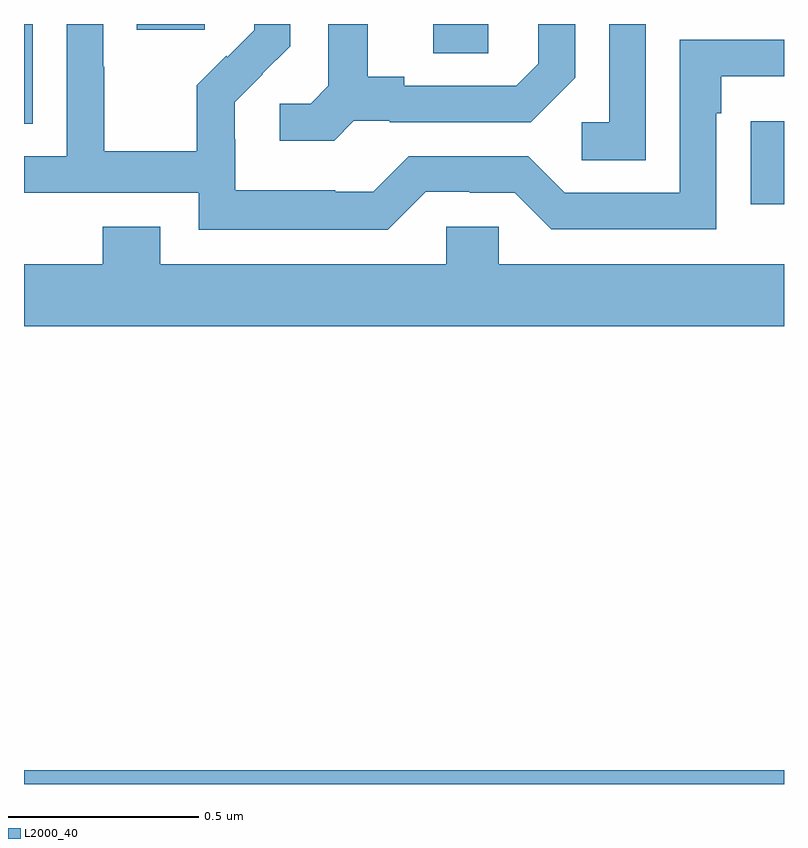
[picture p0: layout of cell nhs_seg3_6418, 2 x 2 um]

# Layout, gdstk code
import gdstk
lib = gdstk.Library(unit=1e-6, precision=1e-09)
def R(c, l, rs):  # rectangles x0, y0, x1, y1
    for r in rs: c.add(gdstk.rectangle(r[:2], r[2:], *l))
def P(c, l, *ps):  # polygons
    for p in ps: c.add(gdstk.Polygon(p, *l))
L2000_40 = (2000, 40)

nhs_seg3_6418 = lib.new_cell('nhs_seg3_6418')
R(nhs_seg3_6418, L2000_40, [(191,678.4,193,678.436), (192.913,679.926,193,680.144), (191,680.137,191.023,680.4), (192.077,680.323,192.222,680.4), (191.297,680.385,191.476,680.4)])
P(nhs_seg3_6418, L2000_40, [(191.868,680.145),(191.962,680.145),(191.962,680.142),(192.334,680.142),(192.45,680.258),(192.45,680.4),(192.353,680.4),(192.353,680.295),(192.296,680.238),(192.001,680.238),(192.001,680.261),(191.905,680.261),(191.905,680.4),(191.801,680.4),(191.801,680.237),(191.754,680.19),(191.673,680.19),(191.673,680.093),(191.816,680.093)],
  [(192.057,679.959),(192.173,679.959),(192.173,679.956),(192.291,679.956),(192.387,679.86),(192.822,679.86),(192.822,680.165),(192.835,680.165),(192.835,680.262),(193,680.262),(193,680.358),(192.726,680.358),(192.726,679.956),(192.423,679.956),(192.327,680.052),(192.012,680.052),(191.919,679.959),(191.819,679.959),(191.819,679.963),(191.556,679.963),(191.556,680.097),(191.554,680.097),(191.554,680.194),(191.628,680.268),(191.627,680.269),(191.7,680.342),(191.7,680.4),(191.606,680.4),(191.606,680.384),(191.535,680.313),(191.532,680.316),(191.455,680.239),(191.455,680.065),(191.211,680.065),(191.211,680.288),(191.208,680.288),(191.208,680.4),(191.112,680.4),(191.112,680.052),(191,680.052),(191,679.956),(191.46,679.956),(191.46,679.859),(191.957,679.859)],
  [(192.636,680.4),(192.54,680.4),(192.54,680.142),(192.468,680.142),(192.468,680.041),(192.636,680.041)],
  [(193,679.768),(192.249,679.768),(192.249,679.866),(192.111,679.866),(192.111,679.768),(191.359,679.768),(191.359,679.867),(191.207,679.867),(191.207,679.768),(191,679.768),(191,679.604),(193,679.604)])

lib.write_gds('nhs_seg3_6418.gds')
